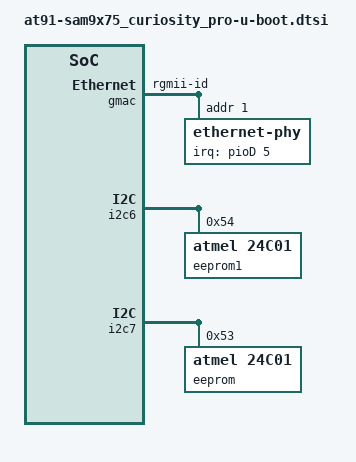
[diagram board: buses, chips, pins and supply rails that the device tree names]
// SPDX-License-Identifier: (GPL-2.0+ OR MIT)
/*
 * at91-sam9x75_curiosity_pro-u-boot.dts - Device Tree file for SAM9X75
 * CURIOSITY PRO board.
 *
 * Copyright (C) 2026 Microchip Technology Inc. and its subsidiaries
 *
 * Author: Ryan Wanner <ryan.wanner@microchip.com>
 */

/ {
	ahb {
		bootph-all;

		apb {
			bootph-all;

			pinctrl {
				bootph-all;
			};
		};
	};

	chosen {
		bootph-all;
	};
};

&clk32k {
	bootph-all;
};

&dbgu {
	bootph-all;
};

&gmac {
	phy-mode = "rgmii-id";
	#address-cells = <1>;
	#size-cells = <0>;
	pinctrl-names = "default";
	pinctrl-0 = <&pinctrl_gmac_rgmii_default>;
	magic-packet;
	status = "okay";

	ethernet-phy@1 {
		reg = <0x1>;
		interrupt-parent = <&pioD>;
		interrupts = <5 IRQ_TYPE_LEVEL_LOW>;
	};
};

&i2c6 {
	#address-cells = <1>;
	#size-cells = <0>;

	eeprom1: eeprom@54 {
		compatible = "atmel,24c01";
		reg = <0x54>;
		pagesize = <8>;
		status = "okay";
	};
};

&i2c7 {
	#address-cells = <1>;
	#size-cells = <0>;

	eeprom@53 {
		compatible = "atmel,24c01";
		reg = <0x53>;
		pagesize = <8>;
		status = "okay";
	};
};

&main_rc {
	bootph-all;
};

&main_xtal {
	bootph-all;
};

&pinctrl {
	gmac  {
		pinctrl_gmac_rgmii_default: gmac-rgmii-default {
			atmel,pins =
				<AT91_PIOB 13 AT91_PERIPH_A  AT91_PINCTRL_SLEWRATE_DIS                          /* ETH_TX0   */
				 AT91_PIOB 14 AT91_PERIPH_A  AT91_PINCTRL_SLEWRATE_DIS                          /* ETH_TX1   */
				 AT91_PIOB 4  AT91_PERIPH_A  AT91_PINCTRL_SLEWRATE_DIS                          /* ETH_TX2   */
				 AT91_PIOB 5  AT91_PERIPH_A  AT91_PINCTRL_SLEWRATE_DIS                          /* ETH_TX3   */
				 AT91_PIOB 7  AT91_PERIPH_A  AT91_PINCTRL_SLEWRATE_DIS                          /* ETH_TXCTL  */
				 AT91_PIOB 6  AT91_PERIPH_A (AT91_PINCTRL_PULL_UP | AT91_PINCTRL_SLEWRATE_DIS)  /* ETH_TXCK  */

				 AT91_PIOB 11 AT91_PERIPH_A  AT91_PINCTRL_SLEWRATE_DIS                          /* ETH_RX0   */
				 AT91_PIOB 12 AT91_PERIPH_A  AT91_PINCTRL_SLEWRATE_DIS                          /* ETH_RX1   */
				 AT91_PIOB 0  AT91_PERIPH_A  AT91_PINCTRL_SLEWRATE_DIS                          /* ETH_RX2   */
				 AT91_PIOB 1  AT91_PERIPH_A  AT91_PINCTRL_SLEWRATE_DIS                          /* ETH_RX3   */
				 AT91_PIOB 8  AT91_PERIPH_A  AT91_PINCTRL_SLEWRATE_DIS                          /* ETH_RXCK   */
				 AT91_PIOB 3  AT91_PERIPH_A  AT91_PINCTRL_SLEWRATE_DIS                          /* ETH_RXCTL */

				 AT91_PIOB 10 AT91_PERIPH_A  AT91_PINCTRL_NONE                                  /* ETH_MDC   */
				 AT91_PIOB 9  AT91_PERIPH_A  AT91_PINCTRL_NONE                                  /* ETH_MDIO  */

				 AT91_PIOB 2  AT91_PERIPH_A  AT91_PINCTRL_SLEWRATE_DIS                          /* ETH_125CK */
				 AT91_PIOD 5  AT91_PERIPH_GPIO  AT91_PINCTRL_NONE>;                             /* ETH_INT   */
		};
	};
};

&pinctrl_dbgu_default {
	bootph-all;
};

&pinctrl_sdmmc0_default {
	bootph-all;
};

&pioA {
	bootph-all;
};

&pioB {
	bootph-all;

};

&pioD {
	bootph-all;
};

&pit64b0 {
	bootph-all;
};

&pmc {
	bootph-all;
};

&sdmmc0 {
	bootph-all;
};

&slow_xtal {
	bootph-all;
};

&slow_rc_osc {
	bootph-all;
};
